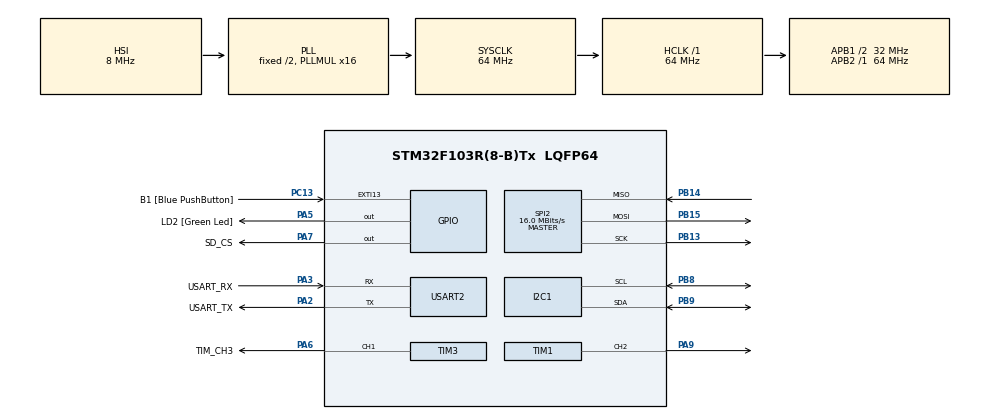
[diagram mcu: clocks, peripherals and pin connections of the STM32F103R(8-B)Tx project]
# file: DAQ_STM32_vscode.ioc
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Dma.Request0=TIM1_CH2
Dma.TIM1_CH2.0.Direction=DMA_MEMORY_TO_PERIPH
Dma.TIM1_CH2.0.Instance=DMA1_Channel3
Dma.TIM1_CH2.0.MemDataAlignment=DMA_MDATAALIGN_HALFWORD
Dma.TIM1_CH2.0.MemInc=DMA_MINC_ENABLE
Dma.TIM1_CH2.0.Mode=DMA_NORMAL
Dma.TIM1_CH2.0.PeriphDataAlignment=DMA_PDATAALIGN_HALFWORD
Dma.TIM1_CH2.0.PeriphInc=DMA_PINC_DISABLE
Dma.TIM1_CH2.0.Priority=DMA_PRIORITY_LOW
I2C1.I2C_Mode=I2C_Fast
Mcu.Family=STM32F1
Mcu.Name=STM32F103R(8-B)Tx
Mcu.Package=LQFP64
NVIC.DMA1_Channel3_IRQn=true\:0\:0\:false\:false\:true\:false\:true\:true
NVIC.EXTI15_10_IRQn=true\:0\:0\:false\:false\:true\:true\:true\:true
NVIC.PriorityGroup=NVIC_PRIORITYGROUP_4
PA13.GPIO_Label=TMS
PA13.Mode=Serial_Wire
PA13.Signal=SYS_JTMS-SWDIO
PA14.GPIO_Label=TCK
PA14.Mode=Serial_Wire
PA14.Signal=SYS_JTCK-SWCLK
PA2.GPIO_Label=USART_TX
PA2.GPIO_Mode=GPIO_MODE_AF_PP
PA2.GPIO_PuPd=GPIO_NOPULL
PA2.GPIO_Speed=GPIO_SPEED_FREQ_LOW
PA2.Mode=Asynchronous
PA2.Signal=USART2_TX
PA3.GPIO_Label=USART_RX
PA3.GPIO_Mode=GPIO_MODE_AF_PP
PA3.GPIO_PuPd=GPIO_NOPULL
PA3.GPIO_Speed=GPIO_SPEED_FREQ_LOW
PA3.Mode=Asynchronous
PA3.Signal=USART2_RX
PA5.GPIO_Label=LD2 [Green Led]
PA5.GPIO_ModeDefaultOutputPP=GPIO_MODE_OUTPUT_PP
PA5.GPIO_PuPd=GPIO_NOPULL
PA5.GPIO_Speed=GPIO_SPEED_FREQ_LOW
PA5.Signal=GPIO_Output
PA6.GPIO_Label=TIM_CH3
PA6.Signal=S_TIM3_CH1
PA7.GPIO_Label=SD_CS
PA7.Signal=GPIO_Output
PA9.Signal=S_TIM1_CH2
PB10.Signal=I2C2_SCL
PB11.Signal=I2C2_SDA
PB13.Mode=Full_Duplex_Master
PB13.Signal=SPI2_SCK
PB14.Mode=Full_Duplex_Master
PB14.Signal=SPI2_MISO
PB15.Mode=Full_Duplex_Master
PB15.Signal=SPI2_MOSI
PB3.GPIO_Label=SWO
PB3.Signal=SYS_JTDO-TRACESWO
PB8.Mode=I2C
PB8.Signal=I2C1_SCL
PB9.Mode=I2C
PB9.Signal=I2C1_SDA
PC13-TAMPER-RTC.GPIO_Label=B1 [Blue PushButton]
PC13-TAMPER-RTC.GPIO_PuPd=GPIO_NOPULL
PC13-TAMPER-RTC.Signal=GPXTI13
PC14-OSC32_IN.Mode=LSE-External-Oscillator
PC14-OSC32_IN.Signal=RCC_OSC32_IN
PC15-OSC32_OUT.Mode=LSE-External-Oscillator
PC15-OSC32_OUT.Signal=RCC_OSC32_OUT
PD0-OSC_IN.Mode=HSE-External-Clock-Source
PD0-OSC_IN.Signal=RCC_OSC_IN
PD1-OSC_OUT.Mode=HSE-External-Clock-Source
PD1-OSC_OUT.Signal=RCC_OSC_OUT
ProjectManager.HeapSize=0x200
ProjectManager.StackSize=0x400
ProjectManager.TargetToolchain=Makefile
RCC.AHBFreq_Value=64000000
RCC.APB1CLKDivider=RCC_HCLK_DIV2
RCC.APB1Freq_Value=32000000
RCC.APB1TimFreq_Value=64000000
RCC.APB2Freq_Value=64000000
RCC.APB2TimFreq_Value=64000000
RCC.HCLKFreq_Value=64000000
RCC.PLLMUL=RCC_PLL_MUL16
RCC.RTCClockSelection=RCC_RTCCLKSOURCE_LSE
RCC.SYSCLKFreq_VALUE=64000000
RCC.SYSCLKSource=RCC_SYSCLKSOURCE_PLLCLK
RCC.USBFreq_Value=64000000
SH.S_TIM1_CH2.0=TIM1_CH2,PWM Generation2 CH2
SH.S_TIM3_CH1.0=TIM3_CH1,PWM Generation1 CH1
SPI2.CalculateBaudRate=16.0 MBits/s
SPI2.Direction=SPI_DIRECTION_2LINES
SPI2.Mode=SPI_MODE_MASTER
SPI2.VirtualType=VM_MASTER
TIM1.Channel-PWM\ Generation2\ CH2=TIM_CHANNEL_2
TIM1.Period=70
TIM3.Channel-PWM\ Generation1\ CH1=TIM_CHANNEL_1
TIM3.Period=71
USART2.VirtualMode=VM_ASYNC
VP_FATFS_VS_Generic.Mode=User_defined
VP_TIM1_VS_ClockSourceINT.Mode=Internal
VP_TIM3_VS_ClockSourceINT.Mode=Internal
board=NUCLEO-F103RB

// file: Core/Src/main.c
/* USER CODE BEGIN Header */
/**
  ******************************************************************************
  * @file           : main.c
  * @brief          : Main program body
  ******************************************************************************
  * @attention
  *
  * Copyright (c) 2022 STMicroelectronics.
  * All rights reserved.
  *
  * This software is licensed under terms that can be found in the LICENSE file
  * in the root directory of this software component.
  * If no LICENSE file comes with this software, it is provided AS-IS.
  *
  ******************************************************************************
  */
/* USER CODE END Header */
#include "main.h"
#include "fatfs.h"

/* USER CODE BEGIN Includes */
#include "bno055_stm32.h"
#include "MS5837.h"
#include "stm32f1xx_hal.h"
#include "stm32f1xx_hal_spi.h"
#include "fatfs.h"
#include <stdio.h>
#include <string.h>
#include <stdarg.h>
/* USER CODE END Includes */

/* USER CODE BEGIN PTD */
#define MAX_LED 50
#define USE_BRIGHTNESS 0
#define SIZE 20
#define TIME 10
/* USER CODE END PTD */

 I2C_HandleTypeDef hi2c1;

SPI_HandleTypeDef hspi2;

TIM_HandleTypeDef htim1;
TIM_HandleTypeDef htim3;
DMA_HandleTypeDef hdma_tim1_ch2;

UART_HandleTypeDef huart2;

/* USER CODE BEGIN PV */
uint8_t LED_Data[MAX_LED][4]; //Array to store the colour of LED
uint8_t LED_Mod[MAX_LED][4]; //Array to store the brightness of the LED
uint16_t pwmData[(24*MAX_LED)+50]; //Array to store colour in PWM format that LEDs expect
volatile int datasentflag=0;
/* USER CODE END PV */

void SystemClock_Config(void);
static void MX_GPIO_Init(void);
static void MX_DMA_Init(void);
static void MX_USART2_UART_Init(void);
static void MX_I2C1_Init(void);
static void MX_SPI2_Init(void);
static void MX_TIM3_Init(void);
static void MX_TIM1_Init(void);
/* USER CODE BEGIN PFP */

/**
 * @brief prints up characters up to a 256 buffer
 *
 * @param fmt
 * @param ...
 */
void serialprintf(const char *fmt, ...);
void Set_LED (int LEDnum, int Red, int Green, int Blue);
void LED_Sequence(int mode, int Red, int Green, int Blue);
void SetSome(int Red, int Green, int Blue, int interval, int start);
void SweepAll(int Red, int Green, int Blue);
void Christmas(int mode);
void LED_RaceStart(void);
void TestAll(int Red, int Green, int Blue);
double CalculateAccel (double velocity1, double velocity2, double time);
void ReflectData(double vector);
void ShowData(double angle, int interval, int start);
/* USER CODE END PFP */

/* USER CODE BEGIN 0 */
void serialprintf(const char *fmt, ...) {
  static char buffer[256];
  va_list args;
  va_start(args, fmt);
  vsnprintf(buffer, sizeof(buffer), fmt, args);
  va_end(args);

  int len = strlen(buffer);
  HAL_UART_Transmit(&huart2, (uint8_t*)buffer, len, -1);

}

//Function to set LED colours
void Set_LED (int LEDnum, int Red, int Green, int Blue)
{
	LED_Data[LEDnum][0] = LEDnum;
	LED_Data[LEDnum][1] = Red;
	LED_Data[LEDnum][2] = Green;
	LED_Data[LEDnum][3] = Blue;
}

//Function to send data to LEDs
void WS2812_Send (void)
{
	uint32_t index=0; //Indexing varibale used to maintain its value through loops
	uint32_t colour;

  for (int i = 0; i < MAX_LED; i++){
    //Extract colour for current LED as a 24-bit string. Each element of LED_Data is 8 bits
    colour = ((LED_Data[i][1]<<16)|(LED_Data[i][2]<<8)|(LED_Data[i][3]));

    //Parse the extracted colour to see how long the PWM should be for each bit
    //Start j at 23 since MSB must be sent first(see datasheet)
    for (int j = 23; j >= 0; j--){

      if(colour & (1<<j)){
        pwmData[index] = 70*0.56667; //In order to send a 1, the duty cycle must be 0.56667
      }
      else pwmData[index] = 70*0.3; //In order to send a 0, the duty cycle must be 0.3
      index++;
    }

  }

  //Add the reset string so that the LEDs know that the end of the string has been reached
  for(int i = 0; i<50; i++){
    pwmData[index] = 0;
    index++;
  }

  //Once the LED colours have been parsed, send the data!
  HAL_TIM_PWM_Start_DMA(&htim1, TIM_CHANNEL_2, (uint32_t*)pwmData, index);
  while(!datasentflag){}; //Wait until data has been sent(flag is set through an interrupt)
  datasentflag = 0; //Reset flag after data has beens sent so we can send more data
}

void HAL_TIM_PWM_PulseFinishedCallback(TIM_HandleTypeDef *htim)
{
	HAL_TIM_PWM_Stop_DMA(&htim1, TIM_CHANNEL_2);
  datasentflag=1;
}

//Sets all LEDs to one colour
void SetAll(int Red, int Green, int Blue){
  for(int i = 0; i < 50; i++){
    Set_LED(i, Red, Green, Blue);
  }
}

//Sets some LEDs to a colour using a start number and intervals of incrementation
void SetSome(int Red, int Green, int Blue, int interval, int start){
  for(int i = start; i < 50; i += interval){
    Set_LED(i, Red, Green, Blue);
  }
}

//Function to set LEDs in certain ranges (0 through 10, 5 through 30, etc.)
void SetSection(int Red, int Green, int Blue, int start, int final)
{
  for(int i = start; i <= final; i++){
    Set_LED(i, Red, Green, Blue);
  }
}

//fades all the LEDs between some colour and off
void SweepAll(int Red, int Green, int Blue)
{
  for(double i = 0; i < 1; i += 0.01){
    SetAll(i*Red, i*Green, i*Blue);
    WS2812_Send();
    HAL_Delay(10);
  }
  for(double i = 1; i > 0; i -= 0.01){
    SetAll(i*Red, i*Green, i*Blue);
    WS2812_Send();
    HAL_Delay(10);
  }
  HAL_Delay(100);
}

//:)
void Christmas(int mode)
{
  //mode 0: static
  //mode 1: change lights up
  //mode 2: change lights down

  if(mode == 0){
   for(int i = 0; i < 50 ; i++){
      if(i % 3 == 0){
        Set_LED(i, 255, 0, 0); //red
      }
      else if(i % 3 == 1){
        Set_LED(i, 255, 255, 255); //white
      }
      else if(i % 3 == 2){
        Set_LED(i, 88, 139, 31); //green
      }
    }
  }
  else if(mode == 1){
    for(int i = 0; i < 50 ; i++){
      switch (LED_Data[i][2]) //if green is...
      {
      case 0: //in red mode
        Set_LED(i, 255, 255, 255); //make it white
        break;

      case 255: //in white mode
         Set_LED(i, 88, 139, 31); //to green
        break;

      case 139: //in green mode
        Set_LED(i, 255, 0, 0); //make it red
        break;

      default:
        break;
      }

      }
    }
    else if(mode == 2){
    for(int i = 0; i < 50 ; i++){
      switch (LED_Data[i][2])
      {
      case 0:
        Set_LED(i, 88, 139, 31);
        break;

      case 255:
         Set_LED(i, 255, 0, 0);
        break;

      case 139:
        Set_LED(i, 255, 255, 255);
        break;

      default:
        break;
      }

      }
    }

}

//sets all leds to certain colours for periods of time before setting them off
void LED_RaceStart(void){
  SetAll(255, 0, 0);
  WS2812_Send();
  HAL_Delay(2000);

  SetAll(150, 100, 0);
  WS2812_Send();
  HAL_Delay(2000);

  SetAll(0, 255, 0);
  WS2812_Send();
  HAL_Delay(2000);

  SetAll(0,0,0);
  WS2812_Send();
}

//if mode is 1, then the leds turn some colour, one by one
void LED_Sequence(int mode, int Red, int Green, int Blue){
  for(int i = 0; i < 50; i++){
    if(mode == 1){
       Set_LED(i, Red, Green, Blue);
    }
    else Set_LED(i, 0, 0, 0);

    WS2812_Send();
    HAL_Delay(50);
  }
}

//test function
void TestAll(int Red, int Green, int Blue){
  Set_LED(0, Red, Green, Blue);

  for(int i = 1; i < 50; i++){
    SetAll(0,0,0);
    Set_LED(i, Red, Green, Blue);
    WS2812_Send();
    while(HAL_GPIO_ReadPin(B1_GPIO_Port, B1_Pin)){}
    while(!HAL_GPIO_ReadPin(B1_GPIO_Port, B1_Pin)){}
  }
}
void ReflectData(double vector) {
 if (vector > 0){
   SetAll(255, 0, 0);
 } else if (vector < 0) {
   SetAll(0, 255, 0);
 }
}

double CalculateAccel (double velocity1, double velocity2, double time) {
  double acceleration = (velocity1 - velocity2)/time;

  return acceleration;
}

void ShowData(double angle, int interval, int start) {
  int red, green, blue;
  if ((int) angle == 0) {
    red = 100;
    green = 100;
    blue = 100;
  } else if (angle < 0) {
    red = 0;
    green = 0;
    blue = 255;
    angle = -angle;
  } else if (angle > 0) {
    red = 255;
    green = 255;
    blue = 0;
  }

  if (angle >= interval) {
    Set_LED((start + interval), 255,0,0);
    angle = interval-1;
  }
  SetSection(red, green, blue, start, (start+angle));
  //SetSome(red, green, blue, angle, start);
}

/* USER CODE END 0 */

int main(void)
{

  /* MCU Configuration--------------------------------------------------------*/

  /* Reset of all peripherals, Initializes the Flash interface and the Systick. */
  HAL_Init();

  /* Configure the system clock */
  SystemClock_Config();

  /* Initialize all configured peripherals */
  MX_GPIO_Init();
  MX_DMA_Init();
  MX_USART2_UART_Init();
  MX_I2C1_Init();
  MX_SPI2_Init();
  MX_FATFS_Init();
  MX_TIM3_Init();
  MX_TIM1_Init();
  /* USER CODE BEGIN 2 */
  bno055_assignI2C(&hi2c1);
  bno055_setup();
  bno055_setOperationModeNDOF();

  HAL_Delay(1000); //a short delay is important to let the SD card settle

  bno055_vector_t p = {0,0,0,0};
  bno055_vector_t v = {0,0,0,0};
  double velAvg[SIZE] = {0};
  double velocitySum = 0;
  double velocity;
  double accelAvg[SIZE/10] = {0};
  double accelSum = 0;
  double acceleration;
  /* USER CODE END 2 */

  /* Infinite loop */
  /* USER CODE BEGIN WHILE */
  while (1)
  {
    //make this the debounced button to read press for calibration
    if (HAL_GPIO_ReadPin(B1_GPIO_Port, B1_Pin) == 1) {
      //Wait until the button is pressed(i.e. for the hall voltage to go high)
      while(!(HAL_GPIO_ReadPin(B1_GPIO_Port, B1_Pin) == 1)){
      }

      //A potential button press has been detected. If the voltage is low after 50ms then it was just noise.
      HAL_Delay(50);
      if(!(HAL_GPIO_ReadPin(B1_GPIO_Port, B1_Pin) == 1)){
      }
      else{
        //Button press detected -- Callibrate!
      }
    }

    HAL_GPIO_TogglePin(LD2_GPIO_Port, LD2_Pin);
	  HAL_Delay(30);

    p = bno055_getVectorEuler();

    for (int i = 0; i < SIZE; i++) {
      velocitySum -= velAvg[i];

      p = bno055_getVectorEuler();
      double p1 = p.z;
      HAL_Delay(TIME);
      p = bno055_getVectorEuler();
      double p2 = p.z;
      velAvg[i] = (p2-p1)/TIME;
      velocitySum += velAvg[i];
      //loops around to the beginning
      if (i == SIZE) {
        i = 0;
      }

      velocity = velocitySum/SIZE;
      acceleration = accelSum/SIZE;

      //calculate future position

      //to display the data onto the LEDs
      SetAll(0,0,0);
      ShowData(200* velocity, 10, 0);
      ShowData(p.z, 10, 30);
      WS2812_Send();
      HAL_Delay(TIME);
    }

    serialprintf("Yaw: %d Roll: %d Pitch: %d\r\n", (int) p.x, (int) p.z, (int) p.y);

    /* USER CODE END WHILE */

  }
}

void SystemClock_Config(void)
{
  RCC_OscInitTypeDef RCC_OscInitStruct = {0};
  RCC_ClkInitTypeDef RCC_ClkInitStruct = {0};

  /** Initializes the RCC Oscillators according to the specified parameters
  * in the RCC_OscInitTypeDef structure.
  */
  RCC_OscInitStruct.OscillatorType = RCC_OSCILLATORTYPE_HSI;
  RCC_OscInitStruct.HSIState = RCC_HSI_ON;
  RCC_OscInitStruct.HSICalibrationValue = RCC_HSICALIBRATION_DEFAULT;
  RCC_OscInitStruct.PLL.PLLState = RCC_PLL_ON;
  RCC_OscInitStruct.PLL.PLLSource = RCC_PLLSOURCE_HSI_DIV2;
  RCC_OscInitStruct.PLL.PLLMUL = RCC_PLL_MUL16;
  if (HAL_RCC_OscConfig(&RCC_OscInitStruct) != HAL_OK)
  {
    Error_Handler();
  }

  /** Initializes the CPU, AHB and APB buses clocks
  */
  RCC_ClkInitStruct.ClockType = RCC_CLOCKTYPE_HCLK|RCC_CLOCKTYPE_SYSCLK
                              |RCC_CLOCKTYPE_PCLK1|RCC_CLOCKTYPE_PCLK2;
  RCC_ClkInitStruct.SYSCLKSource = RCC_SYSCLKSOURCE_PLLCLK;
  RCC_ClkInitStruct.AHBCLKDivider = RCC_SYSCLK_DIV1;
  RCC_ClkInitStruct.APB1CLKDivider = RCC_HCLK_DIV2;
  RCC_ClkInitStruct.APB2CLKDivider = RCC_HCLK_DIV1;

  if (HAL_RCC_ClockConfig(&RCC_ClkInitStruct, FLASH_LATENCY_2) != HAL_OK)
  {
    Error_Handler();
  }
}

static void MX_I2C1_Init(void)
{

  hi2c1.Instance = I2C1;
  hi2c1.Init.ClockSpeed = 400000;
  hi2c1.Init.DutyCycle = I2C_DUTYCYCLE_2;
  hi2c1.Init.OwnAddress1 = 0;
  hi2c1.Init.AddressingMode = I2C_ADDRESSINGMODE_7BIT;
  hi2c1.Init.DualAddressMode = I2C_DUALADDRESS_DISABLE;
  hi2c1.Init.OwnAddress2 = 0;
  hi2c1.Init.GeneralCallMode = I2C_GENERALCALL_DISABLE;
  hi2c1.Init.NoStretchMode = I2C_NOSTRETCH_DISABLE;
  if (HAL_I2C_Init(&hi2c1) != HAL_OK)
  {
    Error_Handler();
  }

}

static void MX_SPI2_Init(void)
{

  /* SPI2 parameter configuration*/
  hspi2.Instance = SPI2;
  hspi2.Init.Mode = SPI_MODE_MASTER;
  hspi2.Init.Direction = SPI_DIRECTION_2LINES;
  hspi2.Init.DataSize = SPI_DATASIZE_8BIT;
  hspi2.Init.CLKPolarity = SPI_POLARITY_LOW;
  hspi2.Init.CLKPhase = SPI_PHASE_1EDGE;
  hspi2.Init.NSS = SPI_NSS_SOFT;
  hspi2.Init.BaudRatePrescaler = SPI_BAUDRATEPRESCALER_2;
  hspi2.Init.FirstBit = SPI_FIRSTBIT_MSB;
  hspi2.Init.TIMode = SPI_TIMODE_DISABLE;
  hspi2.Init.CRCCalculation = SPI_CRCCALCULATION_DISABLE;
  hspi2.Init.CRCPolynomial = 10;
  if (HAL_SPI_Init(&hspi2) != HAL_OK)
  {
    Error_Handler();
  }

}

static void MX_TIM1_Init(void)
{

  TIM_ClockConfigTypeDef sClockSourceConfig = {0};
  TIM_MasterConfigTypeDef sMasterConfig = {0};
  TIM_OC_InitTypeDef sConfigOC = {0};
  TIM_BreakDeadTimeConfigTypeDef sBreakDeadTimeConfig = {0};

  htim1.Instance = TIM1;
  htim1.Init.Prescaler = 0;
  htim1.Init.CounterMode = TIM_COUNTERMODE_UP;
  htim1.Init.Period = 70;
  htim1.Init.ClockDivision = TIM_CLOCKDIVISION_DIV1;
  htim1.Init.RepetitionCounter = 0;
  htim1.Init.AutoReloadPreload = TIM_AUTORELOAD_PRELOAD_DISABLE;
  if (HAL_TIM_Base_Init(&htim1) != HAL_OK)
  {
    Error_Handler();
  }
  sClockSourceConfig.ClockSource = TIM_CLOCKSOURCE_INTERNAL;
  if (HAL_TIM_ConfigClockSource(&htim1, &sClockSourceConfig) != HAL_OK)
  {
    Error_Handler();
  }
  if (HAL_TIM_PWM_Init(&htim1) != HAL_OK)
  {
    Error_Handler();
  }
  sMasterConfig.MasterOutputTrigger = TIM_TRGO_RESET;
  sMasterConfig.MasterSlaveMode = TIM_MASTERSLAVEMODE_DISABLE;
  if (HAL_TIMEx_MasterConfigSynchronization(&htim1, &sMasterConfig) != HAL_OK)
  {
    Error_Handler();
  }
  sConfigOC.OCMode = TIM_OCMODE_PWM1;
  sConfigOC.Pulse = 0;
  sConfigOC.OCPolarity = TIM_OCPOLARITY_HIGH;
  sConfigOC.OCNPolarity = TIM_OCNPOLARITY_HIGH;
  sConfigOC.OCFastMode = TIM_OCFAST_DISABLE;
  sConfigOC.OCIdleState = TIM_OCIDLESTATE_RESET;
  sConfigOC.OCNIdleState = TIM_OCNIDLESTATE_RESET;
  if (HAL_TIM_PWM_ConfigChannel(&htim1, &sConfigOC, TIM_CHANNEL_2) != HAL_OK)
  {
    Error_Handler();
  }
  sBreakDeadTimeConfig.OffStateRunMode = TIM_OSSR_DISABLE;
  sBreakDeadTimeConfig.OffStateIDLEMode = TIM_OSSI_DISABLE;
  sBreakDeadTimeConfig.LockLevel = TIM_LOCKLEVEL_OFF;
  sBreakDeadTimeConfig.DeadTime = 0;
  sBreakDeadTimeConfig.BreakState = TIM_BREAK_DISABLE;
  sBreakDeadTimeConfig.BreakPolarity = TIM_BREAKPOLARITY_HIGH;
  sBreakDeadTimeConfig.AutomaticOutput = TIM_AUTOMATICOUTPUT_DISABLE;
  if (HAL_TIMEx_ConfigBreakDeadTime(&htim1, &sBreakDeadTimeConfig) != HAL_OK)
  {
    Error_Handler();
  }
  HAL_TIM_MspPostInit(&htim1);

}

static void MX_TIM3_Init(void)
{

  TIM_ClockConfigTypeDef sClockSourceConfig = {0};
  TIM_MasterConfigTypeDef sMasterConfig = {0};
  TIM_OC_InitTypeDef sConfigOC = {0};

  htim3.Instance = TIM3;
  htim3.Init.Prescaler = 0;
  htim3.Init.CounterMode = TIM_COUNTERMODE_UP;
  htim3.Init.Period = 71;
  htim3.Init.ClockDivision = TIM_CLOCKDIVISION_DIV1;
  htim3.Init.AutoReloadPreload = TIM_AUTORELOAD_PRELOAD_DISABLE;
  if (HAL_TIM_Base_Init(&htim3) != HAL_OK)
  {
    Error_Handler();
  }
  sClockSourceConfig.ClockSource = TIM_CLOCKSOURCE_INTERNAL;
  if (HAL_TIM_ConfigClockSource(&htim3, &sClockSourceConfig) != HAL_OK)
  {
    Error_Handler();
  }
  if (HAL_TIM_PWM_Init(&htim3) != HAL_OK)
  {
    Error_Handler();
  }
  sMasterConfig.MasterOutputTrigger = TIM_TRGO_RESET;
  sMasterConfig.MasterSlaveMode = TIM_MASTERSLAVEMODE_DISABLE;
  if (HAL_TIMEx_MasterConfigSynchronization(&htim3, &sMasterConfig) != HAL_OK)
  {
    Error_Handler();
  }
  sConfigOC.OCMode = TIM_OCMODE_PWM1;
  sConfigOC.Pulse = 0;
  sConfigOC.OCPolarity = TIM_OCPOLARITY_HIGH;
  sConfigOC.OCFastMode = TIM_OCFAST_DISABLE;
  if (HAL_TIM_PWM_ConfigChannel(&htim3, &sConfigOC, TIM_CHANNEL_1) != HAL_OK)
  {
    Error_Handler();
  }
  HAL_TIM_MspPostInit(&htim3);

}

static void MX_USART2_UART_Init(void)
{

  huart2.Instance = USART2;
  huart2.Init.BaudRate = 115200;
  huart2.Init.WordLength = UART_WORDLENGTH_8B;
  huart2.Init.StopBits = UART_STOPBITS_1;
  huart2.Init.Parity = UART_PARITY_NONE;
  huart2.Init.Mode = UART_MODE_TX_RX;
  huart2.Init.HwFlowCtl = UART_HWCONTROL_NONE;
  huart2.Init.OverSampling = UART_OVERSAMPLING_16;
  if (HAL_UART_Init(&huart2) != HAL_OK)
  {
    Error_Handler();
  }

}

static void MX_DMA_Init(void)
{

  /* DMA controller clock enable */
  __HAL_RCC_DMA1_CLK_ENABLE();

  /* DMA interrupt init */
  /* DMA1_Channel3_IRQn interrupt configuration */
  HAL_NVIC_SetPriority(DMA1_Channel3_IRQn, 0, 0);
  HAL_NVIC_EnableIRQ(DMA1_Channel3_IRQn);

}

static void MX_GPIO_Init(void)
{
  GPIO_InitTypeDef GPIO_InitStruct = {0};

  /* GPIO Ports Clock Enable */
  __HAL_RCC_GPIOC_CLK_ENABLE();
  __HAL_RCC_GPIOD_CLK_ENABLE();
  __HAL_RCC_GPIOA_CLK_ENABLE();
  __HAL_RCC_GPIOB_CLK_ENABLE();

  /*Configure GPIO pin Output Level */
  HAL_GPIO_WritePin(GPIOA, LD2_Pin|SD_CS_Pin, GPIO_PIN_RESET);

  /*Configure GPIO pin : B1_Pin */
  GPIO_InitStruct.Pin = B1_Pin;
  GPIO_InitStruct.Mode = GPIO_MODE_IT_RISING;
  GPIO_InitStruct.Pull = GPIO_NOPULL;
  HAL_GPIO_Init(B1_GPIO_Port, &GPIO_InitStruct);

  /*Configure GPIO pins : LD2_Pin SD_CS_Pin */
  GPIO_InitStruct.Pin = LD2_Pin|SD_CS_Pin;
  GPIO_InitStruct.Mode = GPIO_MODE_OUTPUT_PP;
  GPIO_InitStruct.Pull = GPIO_NOPULL;
  GPIO_InitStruct.Speed = GPIO_SPEED_FREQ_LOW;
  HAL_GPIO_Init(GPIOA, &GPIO_InitStruct);

  /*Configure GPIO pins : PB10 PB11 */
  GPIO_InitStruct.Pin = GPIO_PIN_10|GPIO_PIN_11;
  GPIO_InitStruct.Mode = GPIO_MODE_AF_OD;
  GPIO_InitStruct.Speed = GPIO_SPEED_FREQ_HIGH;
  HAL_GPIO_Init(GPIOB, &GPIO_InitStruct);

  /* EXTI interrupt init*/
  HAL_NVIC_SetPriority(EXTI15_10_IRQn, 0, 0);
  HAL_NVIC_EnableIRQ(EXTI15_10_IRQn);

}

void Error_Handler(void)
{
  __disable_irq();
  while (1)
  {
  }
}
